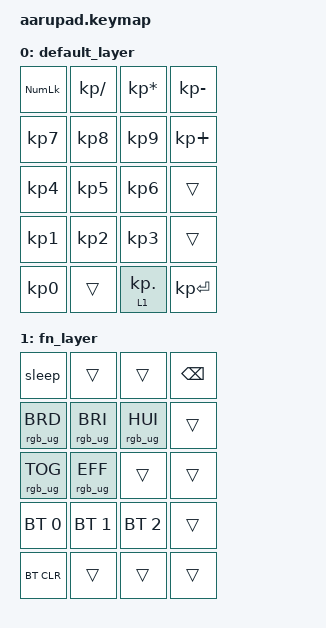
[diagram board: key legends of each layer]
#include <behaviors.dtsi>
#include <dt-bindings/zmk/keys.h>
#include <dt-bindings/zmk/bt.h>
#include <dt-bindings/zmk/outputs.h>
#include <dt-bindings/zmk/rgb.h>
#include <dt-bindings/zmk/ext_power.h>

/ {
	keymap {
		compatible = "zmk,keymap";

		default_layer {

			bindings = <
	&kp KP_NUMLOCK    &kp KP_DIVIDE       &kp KP_MULTIPLY    &kp KP_MINUS        
	&kp KP_N7         &kp KP_N8           &kp KP_N9          &kp KP_PLUS        
	&kp KP_N4         &kp KP_N5           &kp KP_N6          &trans               
	&kp KP_N1         &kp KP_N2           &kp KP_N3          &trans       
	&kp KP_N0         &trans              &lt 1 KP_DOT         &kp KP_ENTER 
			>;
		};

		fn_layer {

			bindings = <
	&sleep          &trans             &trans                  &kp BACKSPACE         
	&rgb_ug RGB_BRD &rgb_ug RGB_BRI	   &rgb_ug RGB_HUI         &trans       
	&rgb_ug RGB_TOG &rgb_ug RGB_EFF    &trans                  &trans        
	&bt BT_SEL 0    &bt BT_SEL 1       &bt BT_SEL 2            &trans 
	&bt BT_CLR      &trans             &trans                  &trans        
			>;
		};
	};
};
